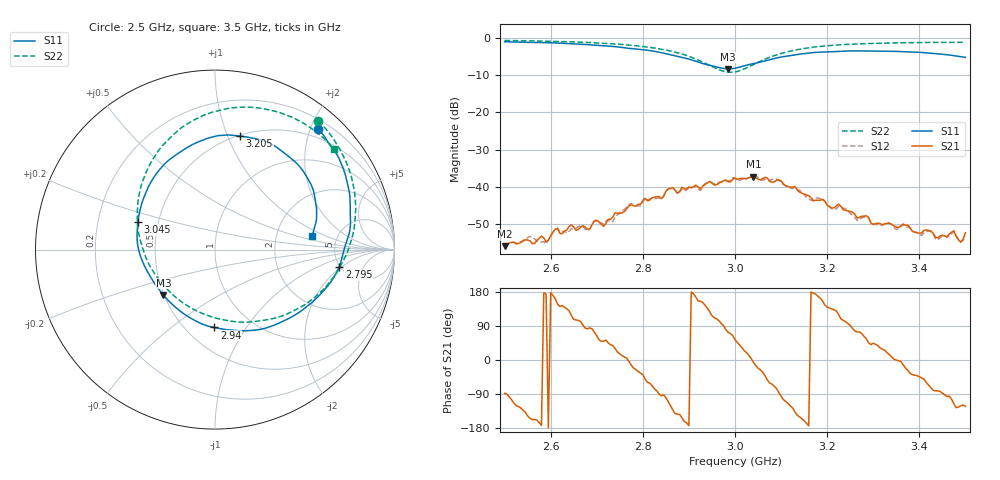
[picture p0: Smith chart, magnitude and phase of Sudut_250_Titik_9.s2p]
# Hz S RI R 50
! CMT, C1220, 16058040, 17.2.0/1
! Date: 15/08/2018 09:49:40
! Data: Format (Calibration Info)
! Freq  S11: Re/Im (F2)  S21: Re/Im (F2)  S12: Re/Im (F2)  S22: Re/Im (F2)
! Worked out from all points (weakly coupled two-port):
!   201 points, 2.5 GHz to 3.5 GHz, reference 50 ohm
!   highest |S21| = -37.25 dB at 3.04 GHz (marker M1); lowest = -55.9 dB at 2.5 GHz (marker M2)
!   lowest |S11| = -8.3 dB at 2.985 GHz (marker M3), VSWR 2.24, Z = 24.8 - j14.7 ohm
!   |S11| at or under -10 dB: nowhere
!   |S22| runs from -9.3 to -0.7 dB; largest |S21 - S12| = 0.0011
!   S11 on the Smith chart (normalised r, x): 2.5 GHz: 0.35, +2.13; 2.795 GHz: 4.92, -1.84; 2.94 GHz: 0.68, -0.73; 3.045 GHz: 0.38, +0.15; 3.205 GHz: 0.51, +1.11; 3.5 GHz: 3.24, +0.69
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2.5e9  0.5762 0.6696  5.67e-05 -0.0016  0.000129 -0.00171  0.5749 0.718
2.555e9  0.6411 0.5823  -0.0017 -0.000839  -0.00191 -0.00104  0.6362 0.6495
2.59e9  0.6862 0.5176  -0.00183 0.000185  -0.00172 2.05e-05  0.6727 0.5968
2.615e9  0.7082 0.4681  -0.00232 0.00147  -0.00241 0.00145  0.6978 0.5544
2.67e9  0.7472 0.3275  -9.98e-05 0.00302  0.000152 0.00294  0.7478 0.4442
2.715e9  0.754 0.192  0.0019 0.00227  0.00198 0.00246  0.7757 0.3335
2.77e9  0.7207 0.00584  0.00557 -0.000344  0.00581 -0.000471  0.7806 0.1664
2.795e9  0.6921 -0.0957  0.00483 -0.00332  0.00455 -0.00318  0.7667 0.0781
2.835e9  0.5931 -0.2425  5.01e-05 -0.00742  0.000303 -0.00715  0.7059 -0.0778
2.94e9  -0.00393 -0.4339  -0.00825 0.0078  -0.00841 0.0076  0.1753 -0.4049
2.985e9  -0.2871 -0.2533  0.0034 0.0112  0.00303 0.0115  -0.181 -0.2952
3e9  -0.3572 -0.156  0.00786 0.0106  0.00854 0.0102  -0.2807 -0.2054
3.04e9  -0.4324 0.1199  0.0137 -0.00137  0.014 -0.000841  -0.427 0.099
3.045e9  -0.4294 0.1543  0.0129 -0.00331  0.0137 -0.00331  -0.432 0.14
3.105e9  -0.2673 0.4899  -0.00276 -0.0106  -0.00296 -0.0103  -0.3244 0.5382
3.17e9  0.00724 0.6328  -0.0065 0.000371  -0.00656 -0.000174  -0.0712 0.7445
3.205e9  0.1398 0.632  -0.00397 0.00369  -0.00371 0.00404  0.0603 0.7838
3.335e9  0.4767 0.4565  0.00316 0.000797  0.00323 0.000646  0.4173 0.7421
3.44e9  0.5661 0.2247  0.000311 -0.00205  0.000295 -0.00193  0.5941 0.6305
3.475e9  0.5586 0.1375  -0.00111 -0.00232  -0.001 -0.00236  0.6368 0.5895
3.49e9  0.5483 0.0992  -0.000931 -0.00155  -0.0011 -0.00148  0.6538 0.5707
3.5e9  0.5401 0.075  -0.00129 -0.00205  -0.00127 -0.00179  0.6652 0.5579
